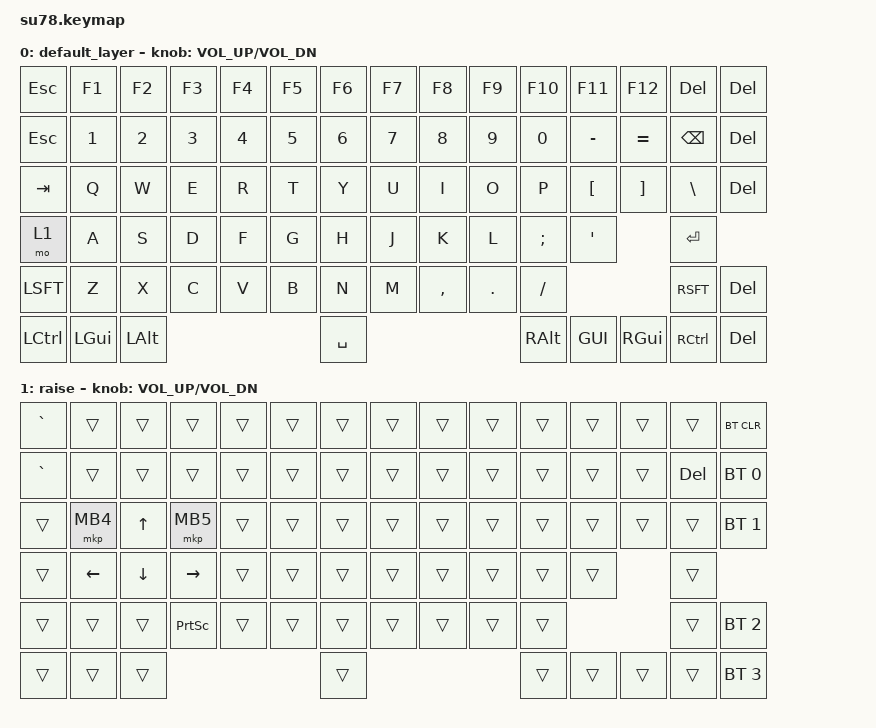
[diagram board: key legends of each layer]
#include <dt-bindings/zmk/keys.h>
#include <dt-bindings/zmk/mouse.h>

#define RIGH RIGHT
#define PSCR PSCRN
#define MINS MINUS

/ {
	keymap {
		compatible = "zmk,keymap";

		default_layer {
			bindings = <
				&kp ESC  &kp F1   &kp F2   &kp F3   &kp F4   &kp F5   &kp F6   &kp F7   &kp F8   &kp F9   &kp F10  &kp F11  &kp F12  &kp DEL  &kp DEL
				&kp ESC  &kp N1   &kp N2   &kp N3   &kp N4   &kp N5   &kp N6   &kp N7   &kp N8   &kp N9   &kp  N0  &kp MINS &kp EQL  &kp BSPC &kp DEL
				&kp TAB  &kp Q    &kp W    &kp E    &kp R    &kp T    &kp Y    &kp U    &kp  I   &kp  O   &kp   P  &kp LBKT &kp RBKT &kp BSLH &kp DEL
				&mo 1    &kp A    &kp S    &kp D    &kp F    &kp G    &kp H    &kp J    &kp  K   &kp  L   &kp SEMI &kp SQT           &kp RET
				&kp LSFT &kp Z    &kp X    &kp C    &kp V    &kp B    &kp N    &kp M    &kp CMMA &kp DOT  &kp FSLH                   &kp RSFT &kp DEL
				&kp LCTL &kp LGUI &kp LALT                            &kp SPACE                           &kp RALT &kp GUI  &kp RGUI &kp RCTL &kp DEL
			>;
			sensor-bindings = <&inc_dec_kp C_VOL_UP C_VOL_DN>;
		};

		raise {
			bindings = <
				&kp GRAV &trans   &trans   &trans   &trans   &trans   &trans   &trans   &trans   &trans   &trans  &trans  &trans   &trans   &bt BT_CLR
				&kp GRAV &trans   &trans   &trans   &trans   &trans   &trans   &trans   &trans   &trans   &trans  &trans  &trans   &kp DEL  &bt BT_SEL 0
				&trans   &mkp MB4 &kp UP   &mkp MB5 &trans   &trans   &trans   &trans   &trans   &trans   &trans  &trans  &trans   &trans   &bt BT_SEL 1
				&trans   &kp LEFT &kp DOWN &kp RIGH &trans   &trans   &trans   &trans   &trans   &trans   &trans  &trans           &trans
				&trans   &trans   &trans   &kp PSCR &trans   &trans   &trans   &trans   &trans   &trans   &trans                   &trans   &bt BT_SEL 2
				&trans   &trans   &trans                              &trans                              &trans  &trans  &trans   &trans   &bt BT_SEL 3
			>;
			sensor-bindings = <&inc_dec_kp C_VOL_UP C_VOL_DN>;
		};
	};
};
